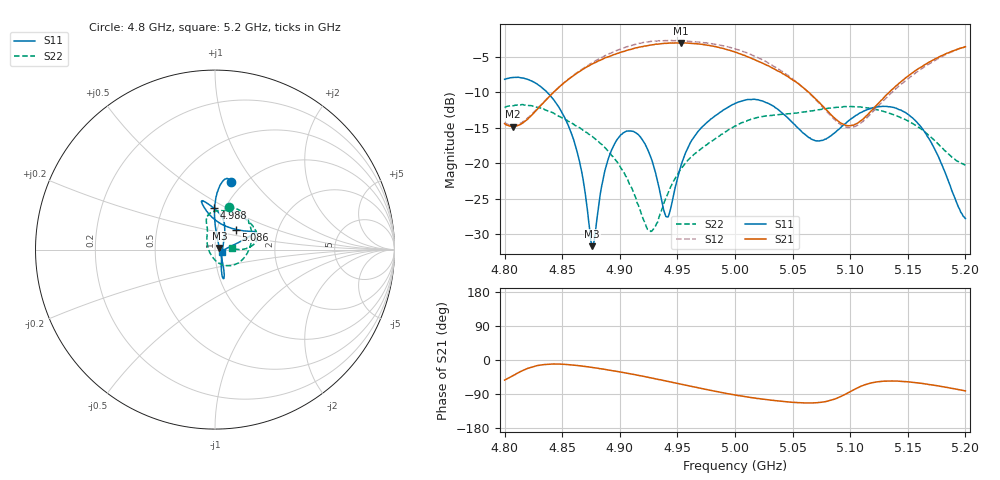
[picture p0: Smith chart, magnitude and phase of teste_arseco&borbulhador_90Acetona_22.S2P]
! Network Analyzer HP8722D
! Hewlett-Packard
! Data name: Linha & Wilkinson
! Saver's name: Rodrigo Anjos
! Comments: Teste da utilização de aquisição
! continua pelo VNA HP8722D
! Time and date: 17/4/2025 11:14
!  Frequency  S11  S21  S12  S22
# HZ  S  MA R 50
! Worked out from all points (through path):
!   401 points, 4.8 GHz to 5.2 GHz, reference 50 ohm
!   highest |S21| = -3.07 dB at 4.953 GHz (marker M1); lowest = -14.8 dB at 4.807 GHz (marker M2)
!   lowest |S11| = -31.7 dB at 4.876 GHz (marker M3), VSWR 1.05, Z = 52.5 + j1.01 ohm
!   |S11| at or under -10 dB: 4.837 GHz to end of sweep
!   |S22| runs from -29.6 to -11.7 dB; largest |S21 - S12| = 1.4
!   S11 on the Smith chart (normalised r, x): 4.8 GHz: 0.87, +0.78; 4.988 GHz: 0.89, +0.43; 5.086 GHz: 1.23, +0.28; 5.2 GHz: 1.08, -0.03
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4.8e9  0.3894 76.8  0.19 -53.0  0.193 82.1  0.2468 72.0
4.807e9  0.4009 78.9  0.1812 -41.8  0.1843 92.2  0.2536 65.8
4.844e9  0.2695 89.6  0.3238 -10.6  0.3246 122.7  0.2208 22.8
4.858e9  0.162 90.2  0.4041 -12.8  0.4057 122.5  0.192 1.7
4.867e9  0.08637 84.0  0.4533 -16.1  0.4565 121.2  0.1736 -12.2
4.876e9  0.02614 21.6  0.4982 -19.7  0.5102 118.8  0.1546 -26.5
4.889e9  0.1008 -63.4  0.5576 -25.7  0.5783 114.6  0.1244 -46.2
4.902e9  0.1606 -71.6  0.6073 -32.5  0.6413 108.9  0.09002 -66.3
4.925e9  0.1207 -72.9  0.6736 -45.9  0.7139 96.1  0.03411 -142.8
4.934e9  0.0677 -57.9  0.6898 -51.7  0.7274 90.4  0.04167 161.3
4.942e9  0.04205 3.8  0.6985 -56.8  0.7281 85.2  0.06182 135.5
4.953e9  0.09582 56.7  0.7024 -63.7  0.7237 78.3  0.0906 119.4
4.966e9  0.1593 71.4  0.6926 -72.0  0.7128 70.2  0.1184 111.3
4.988e9  0.2304 91.5  0.6452 -85.6  0.6747 55.8  0.1598 107.5
5e9  0.2633 100.0  0.605 -92.4  0.6386 48.4  0.1831 104.9
5.029e9  0.2635 105.6  0.4847 -104.9  0.5056 33.6  0.2158 88.0
5.067e9  0.147 76.4  0.2991 -113.2  0.2971 27.5  0.2336 54.5
5.086e9  0.1622 43.6  0.2093 -103.6  0.2044 39.3  0.2463 36.4
5.105e9  0.2172 28.1  0.1888 -75.6  0.1824 69.2  0.2496 22.0
5.134e9  0.2498 23.2  0.3163 -55.4  0.3026 91.0  0.2247 8.8
5.164e9  0.169 18.9  0.4888 -62.5  0.4731 85.4  0.1683 1.5
5.2e9  0.04085 -17.3  0.6596 -81.6  0.6612 67.5  0.09722 5.5
